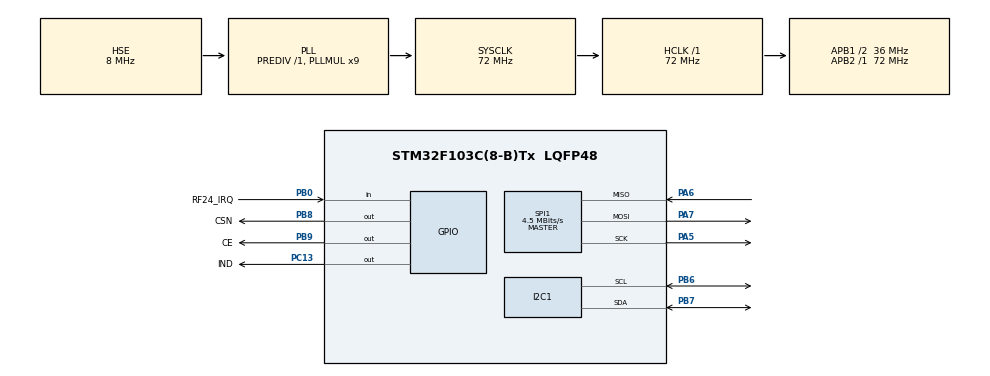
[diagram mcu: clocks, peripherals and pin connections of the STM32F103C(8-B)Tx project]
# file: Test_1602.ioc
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Dma.I2C1_RX.0.Direction=DMA_PERIPH_TO_MEMORY
Dma.I2C1_RX.0.Instance=DMA1_Channel7
Dma.I2C1_RX.0.MemDataAlignment=DMA_MDATAALIGN_BYTE
Dma.I2C1_RX.0.MemInc=DMA_MINC_ENABLE
Dma.I2C1_RX.0.Mode=DMA_NORMAL
Dma.I2C1_RX.0.PeriphDataAlignment=DMA_PDATAALIGN_BYTE
Dma.I2C1_RX.0.PeriphInc=DMA_PINC_DISABLE
Dma.I2C1_RX.0.Priority=DMA_PRIORITY_LOW
Dma.I2C1_TX.1.Direction=DMA_MEMORY_TO_PERIPH
Dma.I2C1_TX.1.Instance=DMA1_Channel6
Dma.I2C1_TX.1.MemDataAlignment=DMA_MDATAALIGN_BYTE
Dma.I2C1_TX.1.MemInc=DMA_MINC_ENABLE
Dma.I2C1_TX.1.Mode=DMA_NORMAL
Dma.I2C1_TX.1.PeriphDataAlignment=DMA_PDATAALIGN_BYTE
Dma.I2C1_TX.1.PeriphInc=DMA_PINC_DISABLE
Dma.I2C1_TX.1.Priority=DMA_PRIORITY_LOW
Dma.Request0=I2C1_RX
Dma.Request1=I2C1_TX
FREERTOS.INCLUDE_vTaskDelayUntil=1
FREERTOS.Queues01=sensorTemp,2,double,0,Dynamic,NULL,NULL;msgClockTick,2,uint32_t,0,Dynamic,NULL,NULL;msgRadioTransmit,8,uint16_t,0,Dynamic,NULL,NULL
FREERTOS.Tasks01=defaultTask,-2,64,StartDefaultTask,Default,NULL,Dynamic,NULL,NULL;lcd1602,-1,128,StartLcd1602,Default,NULL,Dynamic,NULL,NULL;bmp180Sensor,-3,128,StartBmp180Sensor,Default,NULL,Dynamic,NULL,NULL;myRadio,0,128,StartRadio,Default,NULL,Dynamic,NULL,NULL
FREERTOS.Timers01=realTimeClock,CallbackTimerClock,osTimerPeriodic,Default,NULL,Dynamic,NULL
FREERTOS.configCHECK_FOR_STACK_OVERFLOW=1
FREERTOS.configMINIMAL_STACK_SIZE=64
FREERTOS.configTIMER_TASK_STACK_DEPTH=64
FREERTOS.configUSE_TIMERS=1
Mcu.Family=STM32F1
Mcu.Name=STM32F103C(8-B)Tx
Mcu.Package=LQFP48
NVIC.DMA1_Channel6_IRQn=true\:5\:0\:false\:false\:true\:true\:false\:true
NVIC.DMA1_Channel7_IRQn=true\:5\:0\:false\:false\:true\:true\:false\:true
NVIC.I2C1_ER_IRQn=true\:5\:0\:false\:false\:true\:true\:true\:true
NVIC.I2C1_EV_IRQn=true\:5\:0\:false\:false\:true\:true\:true\:true
NVIC.PriorityGroup=NVIC_PRIORITYGROUP_4
NVIC.TIM4_IRQn=true\:0\:0\:false\:false\:true\:false\:false\:true
NVIC.TimeBase=TIM4_IRQn
NVIC.TimeBaseIP=TIM4
PA13.Mode=Trace_Asynchronous_SW
PA13.Signal=SYS_JTMS-SWDIO
PA14.Mode=Trace_Asynchronous_SW
PA14.Signal=SYS_JTCK-SWCLK
PA5.Mode=Full_Duplex_Master
PA5.Signal=SPI1_SCK
PA6.Mode=Full_Duplex_Master
PA6.Signal=SPI1_MISO
PA7.Mode=Full_Duplex_Master
PA7.Signal=SPI1_MOSI
PB0.GPIO_Label=RF24_IRQ
PB0.Signal=GPIO_Input
PB3.Mode=Trace_Asynchronous_SW
PB3.Signal=SYS_JTDO-TRACESWO
PB6.Mode=I2C
PB6.Signal=I2C1_SCL
PB7.Mode=I2C
PB7.Signal=I2C1_SDA
PB8.GPIO_Label=CSN
PB8.PinState=GPIO_PIN_SET
PB8.Signal=GPIO_Output
PB9.GPIO_Label=CE
PB9.Signal=GPIO_Output
PC13-TAMPER-RTC.GPIO_Label=IND
PC13-TAMPER-RTC.Signal=GPIO_Output
PD0-OSC_IN.Mode=HSE-External-Oscillator
PD0-OSC_IN.Signal=RCC_OSC_IN
PD1-OSC_OUT.Mode=HSE-External-Oscillator
PD1-OSC_OUT.Signal=RCC_OSC_OUT
ProjectManager.HeapSize=0x200
ProjectManager.StackSize=0x400
ProjectManager.TargetToolchain=STM32CubeIDE
RCC.AHBFreq_Value=72000000
RCC.APB1CLKDivider=RCC_HCLK_DIV2
RCC.APB1Freq_Value=36000000
RCC.APB1TimFreq_Value=72000000
RCC.APB2Freq_Value=72000000
RCC.APB2TimFreq_Value=72000000
RCC.HCLKFreq_Value=72000000
RCC.PLLMUL=RCC_PLL_MUL9
RCC.PLLSourceVirtual=RCC_PLLSOURCE_HSE
RCC.SYSCLKFreq_VALUE=72000000
RCC.SYSCLKSource=RCC_SYSCLKSOURCE_PLLCLK
RCC.USBFreq_Value=48000000
RCC.USBPrescaler=RCC_USBCLKSOURCE_PLL_DIV1_5
SPI1.BaudRatePrescaler=SPI_BAUDRATEPRESCALER_16
SPI1.CalculateBaudRate=4.5 MBits/s
SPI1.Direction=SPI_DIRECTION_2LINES
SPI1.Mode=SPI_MODE_MASTER
SPI1.VirtualType=VM_MASTER
VP_FREERTOS_VS_CMSIS_V1.Mode=CMSIS_V1
VP_SYS_VS_tim4.Mode=TIM4
board=custom

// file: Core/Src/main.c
/* USER CODE BEGIN Header */
/**
  ******************************************************************************
  * @file           : main.c
  * @brief          : Main program body
  ******************************************************************************
  * @attention
  *
  * <h2><center>&copy; Copyright (c) 2019 STMicroelectronics.
  * All rights reserved.</center></h2>
  *
  * This software component is licensed by ST under BSD 3-Clause license,
  * the "License"; You may not use this file except in compliance with the
  * License. You may obtain a copy of the License at:
  *                        opensource.org/licenses/BSD-3-Clause
  *
  ******************************************************************************
  */
/* USER CODE END Header */

#include "main.h"
#include "cmsis_os.h"

/* USER CODE BEGIN Includes */
#include "lcd_hd44780_i2c.h"
#include "bmp180.h"
#include <stdio.h>
#include <string.h>
#include <math.h>
#include "meteo_home.h"
#include "RF24.h"
#include "transmitter.h"
/* USER CODE END Includes */

/* USER CODE BEGIN PTD */
const uint64_t pipe_addresses[6] = {
	0xF0F0F0F0D2LL,
	0xF0F0F0F0E1LL,
	0xF0F0F0F0E2LL,
	0xF0F0F0F0E3LL,
	0xF0F0F0F0E4LL,
	0xF0F0F0F0E5LL
};
/* USER CODE END PTD */

I2C_HandleTypeDef hi2c1;
DMA_HandleTypeDef hdma_i2c1_rx;
DMA_HandleTypeDef hdma_i2c1_tx;

SPI_HandleTypeDef hspi1;

osThreadId defaultTaskHandle;
osThreadId lcd1602Handle;
osThreadId bmp180SensorHandle;
osThreadId myRadioHandle;
osMessageQId sensorTempHandle;
osMessageQId msgClockTickHandle;
osMessageQId msgRadioTransmitHandle;
osTimerId realTimeClockHandle;
/* USER CODE BEGIN PV */

osPoolDef(bmp_pool, 16, BMP180_DATA);                    // Define memory pool
osPoolId  bmp_pool;
osMessageQDef(bmp180MailTempHandler, 16, BMP180_DATA);              // Define message queue
osMessageQId bmp180MailTempHandler;
osMessageQId  MsgBox;
/* USER CODE END PV */

void SystemClock_Config(void);
static void MX_GPIO_Init(void);
static void MX_DMA_Init(void);
static void MX_I2C1_Init(void);
static void MX_SPI1_Init(void);
void StartDefaultTask(void const * argument);
void StartLcd1602(void const * argument);
void StartBmp180Sensor(void const * argument);
void StartRadio(void const * argument);
void CallbackTimerClock(void const * argument);

int main(void)
{

  /* MCU Configuration--------------------------------------------------------*/

  /* Reset of all peripherals, Initializes the Flash interface and the Systick. */
  HAL_Init();

  /* Configure the system clock */
  SystemClock_Config();

  /* Initialize all configured peripherals */
  MX_GPIO_Init();
  MX_DMA_Init();
  MX_I2C1_Init();
  MX_SPI1_Init();

  /* Create the timer(s) */
  /* definition and creation of realTimeClock */
  osTimerDef(realTimeClock, CallbackTimerClock);
  realTimeClockHandle = osTimerCreate(osTimer(realTimeClock), osTimerPeriodic, NULL);

  /* Create the queue(s) */
  /* definition and creation of sensorTemp */
  osMessageQDef(sensorTemp, 2, double);
  sensorTempHandle = osMessageCreate(osMessageQ(sensorTemp), NULL);

  /* definition and creation of msgClockTick */
  osMessageQDef(msgClockTick, 2, uint32_t);
  msgClockTickHandle = osMessageCreate(osMessageQ(msgClockTick), NULL);

  /* definition and creation of msgRadioTransmit */
  osMessageQDef(msgRadioTransmit, 8, uint16_t);
  msgRadioTransmitHandle = osMessageCreate(osMessageQ(msgRadioTransmit), NULL);

  /* USER CODE BEGIN RTOS_QUEUES */
  /* add queues, ... */
  bmp_pool = osPoolCreate(osPool(bmp_pool));                 // create memory pool
  bmp180MailTempHandler = osMessageCreate(osMessageQ(bmp180MailTempHandler), NULL);  // create msg queue

  /* USER CODE END RTOS_QUEUES */

  /* Create the thread(s) */
  /* definition and creation of defaultTask */
  osThreadDef(defaultTask, StartDefaultTask, osPriorityLow, 0, 64);
  defaultTaskHandle = osThreadCreate(osThread(defaultTask), NULL);

  /* definition and creation of lcd1602 */
  osThreadDef(lcd1602, StartLcd1602, osPriorityBelowNormal, 0, 128);
  lcd1602Handle = osThreadCreate(osThread(lcd1602), NULL);

  /* definition and creation of bmp180Sensor */
  osThreadDef(bmp180Sensor, StartBmp180Sensor, osPriorityIdle, 0, 128);
  bmp180SensorHandle = osThreadCreate(osThread(bmp180Sensor), NULL);

  /* definition and creation of myRadio */
  osThreadDef(myRadio, StartRadio, osPriorityNormal, 0, 128);
  myRadioHandle = osThreadCreate(osThread(myRadio), NULL);

  /* Start scheduler */
  osKernelStart();

  /* We should never get here as control is now taken by the scheduler */
  /* Infinite loop */
  while (1)
  {

  }
}

void SystemClock_Config(void)
{
  RCC_OscInitTypeDef RCC_OscInitStruct = {0};
  RCC_ClkInitTypeDef RCC_ClkInitStruct = {0};

  /** Initializes the CPU, AHB and APB busses clocks
  */
  RCC_OscInitStruct.OscillatorType = RCC_OSCILLATORTYPE_HSE;
  RCC_OscInitStruct.HSEState = RCC_HSE_ON;
  RCC_OscInitStruct.HSEPredivValue = RCC_HSE_PREDIV_DIV1;
  RCC_OscInitStruct.HSIState = RCC_HSI_ON;
  RCC_OscInitStruct.PLL.PLLState = RCC_PLL_ON;
  RCC_OscInitStruct.PLL.PLLSource = RCC_PLLSOURCE_HSE;
  RCC_OscInitStruct.PLL.PLLMUL = RCC_PLL_MUL9;
  if (HAL_RCC_OscConfig(&RCC_OscInitStruct) != HAL_OK)
  {
    Error_Handler();
  }
  /** Initializes the CPU, AHB and APB busses clocks
  */
  RCC_ClkInitStruct.ClockType = RCC_CLOCKTYPE_HCLK|RCC_CLOCKTYPE_SYSCLK
                              |RCC_CLOCKTYPE_PCLK1|RCC_CLOCKTYPE_PCLK2;
  RCC_ClkInitStruct.SYSCLKSource = RCC_SYSCLKSOURCE_PLLCLK;
  RCC_ClkInitStruct.AHBCLKDivider = RCC_SYSCLK_DIV1;
  RCC_ClkInitStruct.APB1CLKDivider = RCC_HCLK_DIV2;
  RCC_ClkInitStruct.APB2CLKDivider = RCC_HCLK_DIV1;

  if (HAL_RCC_ClockConfig(&RCC_ClkInitStruct, FLASH_LATENCY_2) != HAL_OK)
  {
    Error_Handler();
  }
}

static void MX_I2C1_Init(void)
{

  hi2c1.Instance = I2C1;
  hi2c1.Init.ClockSpeed = 100000;
  hi2c1.Init.DutyCycle = I2C_DUTYCYCLE_2;
  hi2c1.Init.OwnAddress1 = 0;
  hi2c1.Init.AddressingMode = I2C_ADDRESSINGMODE_7BIT;
  hi2c1.Init.DualAddressMode = I2C_DUALADDRESS_DISABLE;
  hi2c1.Init.OwnAddress2 = 0;
  hi2c1.Init.GeneralCallMode = I2C_GENERALCALL_DISABLE;
  hi2c1.Init.NoStretchMode = I2C_NOSTRETCH_DISABLE;
  if (HAL_I2C_Init(&hi2c1) != HAL_OK)
  {
    Error_Handler();
  }

}

static void MX_SPI1_Init(void)
{

  /* SPI1 parameter configuration*/
  hspi1.Instance = SPI1;
  hspi1.Init.Mode = SPI_MODE_MASTER;
  hspi1.Init.Direction = SPI_DIRECTION_2LINES;
  hspi1.Init.DataSize = SPI_DATASIZE_8BIT;
  hspi1.Init.CLKPolarity = SPI_POLARITY_LOW;
  hspi1.Init.CLKPhase = SPI_PHASE_1EDGE;
  hspi1.Init.NSS = SPI_NSS_SOFT;
  hspi1.Init.BaudRatePrescaler = SPI_BAUDRATEPRESCALER_16;
  hspi1.Init.FirstBit = SPI_FIRSTBIT_MSB;
  hspi1.Init.TIMode = SPI_TIMODE_DISABLE;
  hspi1.Init.CRCCalculation = SPI_CRCCALCULATION_DISABLE;
  hspi1.Init.CRCPolynomial = 10;
  if (HAL_SPI_Init(&hspi1) != HAL_OK)
  {
    Error_Handler();
  }

}

static void MX_DMA_Init(void)
{

  /* DMA controller clock enable */
  __HAL_RCC_DMA1_CLK_ENABLE();

  /* DMA interrupt init */
  /* DMA1_Channel6_IRQn interrupt configuration */
  HAL_NVIC_SetPriority(DMA1_Channel6_IRQn, 5, 0);
  HAL_NVIC_EnableIRQ(DMA1_Channel6_IRQn);
  /* DMA1_Channel7_IRQn interrupt configuration */
  HAL_NVIC_SetPriority(DMA1_Channel7_IRQn, 5, 0);
  HAL_NVIC_EnableIRQ(DMA1_Channel7_IRQn);

}

static void MX_GPIO_Init(void)
{
  GPIO_InitTypeDef GPIO_InitStruct = {0};

  /* GPIO Ports Clock Enable */
  __HAL_RCC_GPIOC_CLK_ENABLE();
  __HAL_RCC_GPIOD_CLK_ENABLE();
  __HAL_RCC_GPIOA_CLK_ENABLE();
  __HAL_RCC_GPIOB_CLK_ENABLE();

  /*Configure GPIO pin Output Level */
  HAL_GPIO_WritePin(IND_GPIO_Port, IND_Pin, GPIO_PIN_RESET);

  /*Configure GPIO pin Output Level */
  HAL_GPIO_WritePin(CSN_GPIO_Port, CSN_Pin, GPIO_PIN_SET);

  /*Configure GPIO pin Output Level */
  HAL_GPIO_WritePin(CE_GPIO_Port, CE_Pin, GPIO_PIN_RESET);

  /*Configure GPIO pin : IND_Pin */
  GPIO_InitStruct.Pin = IND_Pin;
  GPIO_InitStruct.Mode = GPIO_MODE_OUTPUT_PP;
  GPIO_InitStruct.Pull = GPIO_NOPULL;
  GPIO_InitStruct.Speed = GPIO_SPEED_FREQ_LOW;
  HAL_GPIO_Init(IND_GPIO_Port, &GPIO_InitStruct);

  /*Configure GPIO pin : RF24_IRQ_Pin */
  GPIO_InitStruct.Pin = RF24_IRQ_Pin;
  GPIO_InitStruct.Mode = GPIO_MODE_INPUT;
  GPIO_InitStruct.Pull = GPIO_NOPULL;
  HAL_GPIO_Init(RF24_IRQ_GPIO_Port, &GPIO_InitStruct);

  /*Configure GPIO pins : CSN_Pin CE_Pin */
  GPIO_InitStruct.Pin = CSN_Pin|CE_Pin;
  GPIO_InitStruct.Mode = GPIO_MODE_OUTPUT_PP;
  GPIO_InitStruct.Pull = GPIO_NOPULL;
  GPIO_InitStruct.Speed = GPIO_SPEED_FREQ_LOW;
  HAL_GPIO_Init(GPIOB, &GPIO_InitStruct);

}

/* USER CODE BEGIN 4 */
uint8_t I2C_Scan(I2C_HandleTypeDef *hi2c)
{
    //char info[] = "Scanning I2C bus...\n";
    //HAL_UART_Transmit(&huart1, (uint8_t*)info, strlen(info), 1000);
	static uint8_t k=0;
    for(uint16_t i = 0; i < 128; i++)
    {
        if(HAL_I2C_IsDeviceReady(hi2c, i << 1, 1, 100) == HAL_OK)
        {
        	k = i;
        	//char msg[64] = {0,};
            //snprintf(msg, 64, "Device: 0x%02X\n", i);
            //HAL_UART_Transmit(&huart1, (uint8_t*)msg, strlen(msg), 1000);
        }
    }
    return k;
}
void I2C_Error(char *er, uint32_t status) // ошибки i2c
{}
/* USER CODE END 4 */

void StartDefaultTask(void const * argument)
{
  /* USER CODE BEGIN 5 */
  /* Infinite loop */
	static osEvent event;
	transmit_query q;
	uint16_t iq;
	osTimerStart(realTimeClockHandle, 1000);
  /* Infinite loop */
  for(;;)
  {
	 event = osMessageGet(msgClockTickHandle, osWaitForever);
	 if(event.status == osEventMessage)
	 {
		 unixtime++;
		 if ((transmit_state ==start_state) ||
				 (transmit_state=connecting_state)||
				 (transmit_state==lost_connectState)||
				 (transmit_state==test_state))
		 {
			 q.type = data_null;
			 q.query = none_q;
			 iq = (q.type<< 8) +q.query;;
			 osStatus st =osMessagePut(msgRadioTransmitHandle, iq, 100);
			 st = 0;
		 }
		 HAL_GPIO_TogglePin(IND_GPIO_Port, IND_Pin);
		 if (unixtime % 60 ==0)
		 {
			if ((transmit_state ==connected_state) ||(transmit_state=disconnected_state))
			{

			}
				//unixtimeToString(unixtime,(char*)&strT);
		 }
	 }
  }
  /* USER CODE END 5 */
}

void StartLcd1602(void const * argument)
{
  /* USER CODE BEGIN StartLcd1602 */
	static char buffer[21];
	static osEvent event;
	lcdInit(&hi2c1, (uint8_t)0x27, (uint8_t)2, (uint8_t)16);
	static const char helloWorld[] = "Meteostation #1";
	lcdSetCursorPosition(0, 0);
	lcdPrintStr((uint8_t*)helloWorld, strlen(helloWorld));
	lcdDisplayClear();
	  /* Infinite loop */
	  for(;;)
	  {
  	      BMP180_DATA *qstruct;

  	      event = osMessageGet(bmp180MailTempHandler, osWaitForever);
  	      if (event.status == osEventMessage)
  	      {
			  qstruct = event.value.p;

			  double fractpart, intpart;
			  fractpart = modf(qstruct->temp, &intpart);
			  uint8_t pos = (uint8_t)qstruct->from;
			  sprintf(buffer,"T=%li.%li", lroundf(intpart), lroundf(fractpart * 10));
			  lcdSetCursorPosition(0, pos);
			  lcdPrintStr((uint8_t*)buffer, strlen(buffer));
			  sprintf(buffer,"P=%li", qstruct->press);
			  lcdSetCursorPosition(10, pos);
			  lcdPrintStr((uint8_t*)buffer, strlen(buffer));
			  sprintf(buffer,"T=%li.%li  P=%li\r\n", lroundf(intpart), lroundf(fractpart * 10),qstruct->press);
			  osPoolFree(bmp_pool,qstruct);
		}
	  }
  /* USER CODE END StartLcd1602 */
}

void StartBmp180Sensor(void const * argument)
{
  /* USER CODE BEGIN StartBmp180Sensor */
  /* Infinite loop */
	BMP180_DATA *qstruct;
	// I2C_Scan(&hi2c1); // НОМЕР I2C
	BMP_i2c_init(&hi2c1); // НОМЕР I2C
  for(;;)
  {

	  char trans_str[64] = {0,};
	  qstruct = osPoolAlloc(bmp_pool);
	  BMP_setControl(BMP_MODE_TEMPERATURE);
	  HAL_Delay(BMP_getMeasureDelayMilliseconds(BMP_MODE_TEMPERATURE));
	  float t = BMP_getTemperatureC();

	  BMP_setControl(BMP_MODE_PRESSURE_3);
	  HAL_Delay(BMP_getMeasureDelayMilliseconds(BMP_MODE_PRESSURE_3));
	  float p = BMP_getPressure() * 0.00750062;

	  //snprintf(trans_str, 64, "Temp: %.1f  Pressure: %.2f\n", t , p);
	  //HAL_UART_Transmit(&huart1, (uint8_t*)trans_str, strlen(trans_str), 1000);

	  qstruct->temp = t;
	  qstruct->press = p;
	  qstruct->from = meteoIndoor;
	  osMessagePut(bmp180MailTempHandler,(uint32_t)qstruct, 100);
	  vTaskDelay(2000);
  }
  /* USER CODE END StartBmp180Sensor */
}

void StartRadio(void const * argument)
{
  /* USER CODE BEGIN StartRadio */

	uint8_t res = isChipConnected(); // проверяет подключён ли модуль к SPI

	res = NRF_Init(); // инициализация
	////////////// SET ////////////////

	setPALevel(RF24_PA_LOW);
	//uint8_t status = getPALevel();
	//setAutoAck(false);
	setPayloadSize(sizeof(struct meteo_data_struct));
	enableDynamicPayloads();
	enableAckPayload();
	setChannel(106);
	openWritingPipe(pipe_addresses[2]);

	static osEvent event;
	transmit_query q;
	uint16_t iq;
  /* Infinite loop */
	for(;;)
	{
	      event = osMessageGet(msgRadioTransmitHandle, osWaitForever);
	      if (event.status == osEventMessage)
	      {
			  iq = event.value.v;
			  q.query = iq *0xFF;
			  q.type = iq >> 8;
	      }
	}
  /* USER CODE END StartRadio */
}

/* CallbackTimerClock function */
void CallbackTimerClock(void const * argument)
{
  /* USER CODE BEGIN CallbackTimerClock */
	  static uint32_t tim = 0;
	  tim++;

	  osMessagePut(msgClockTickHandle, tim, 0);
  /* USER CODE END CallbackTimerClock */
}

 /**
  * @brief  Period elapsed callback in non blocking mode
  * @note   This function is called  when TIM4 interrupt took place, inside
  * HAL_TIM_IRQHandler(). It makes a direct call to HAL_IncTick() to increment
  * a global variable "uwTick" used as application time base.
  * @param  htim : TIM handle
  * @retval None
  */
void HAL_TIM_PeriodElapsedCallback(TIM_HandleTypeDef *htim)
{
  if (htim->Instance == TIM4) {
    HAL_IncTick();
  }
}

void Error_Handler(void)
{
}

/************************ (C) COPYRIGHT STMicroelectronics *****END OF FILE****/

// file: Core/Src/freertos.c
/* USER CODE BEGIN Header */
/**
  ******************************************************************************
  * File Name          : freertos.c
  * Description        : Code for freertos applications
  ******************************************************************************
  * @attention
  *
  * <h2><center>&copy; Copyright (c) 2019 STMicroelectronics.
  * All rights reserved.</center></h2>
  *
  * This software component is licensed by ST under Ultimate Liberty license
  * SLA0044, the "License"; You may not use this file except in compliance with
  * the License. You may obtain a copy of the License at:
  *                             www.st.com/SLA0044
  *
  ******************************************************************************
  */
/* USER CODE END Header */

#include "FreeRTOS.h"
#include "task.h"
#include "main.h"

/* GetIdleTaskMemory prototype (linked to static allocation support) */
void vApplicationGetIdleTaskMemory( StaticTask_t **ppxIdleTaskTCBBuffer, StackType_t **ppxIdleTaskStackBuffer, uint32_t *pulIdleTaskStackSize );

/* GetTimerTaskMemory prototype (linked to static allocation support) */
void vApplicationGetTimerTaskMemory( StaticTask_t **ppxTimerTaskTCBBuffer, StackType_t **ppxTimerTaskStackBuffer, uint32_t *pulTimerTaskStackSize );

/* Hook prototypes */
void vApplicationStackOverflowHook(xTaskHandle xTask, signed char *pcTaskName);

/* USER CODE BEGIN 4 */
__weak void vApplicationStackOverflowHook(xTaskHandle xTask, signed char *pcTaskName)
{
   /* Run time stack overflow checking is performed if
   configCHECK_FOR_STACK_OVERFLOW is defined to 1 or 2. This hook function is
   called if a stack overflow is detected. */
}
/* USER CODE END 4 */

/* USER CODE BEGIN GET_IDLE_TASK_MEMORY */
static StaticTask_t xIdleTaskTCBBuffer;
static StackType_t xIdleStack[configMINIMAL_STACK_SIZE];

void vApplicationGetIdleTaskMemory( StaticTask_t **ppxIdleTaskTCBBuffer, StackType_t **ppxIdleTaskStackBuffer, uint32_t *pulIdleTaskStackSize )
{
  *ppxIdleTaskTCBBuffer = &xIdleTaskTCBBuffer;
  *ppxIdleTaskStackBuffer = &xIdleStack[0];
  *pulIdleTaskStackSize = configMINIMAL_STACK_SIZE;
  /* place for user code */
}
/* USER CODE END GET_IDLE_TASK_MEMORY */

/* USER CODE BEGIN GET_TIMER_TASK_MEMORY */
static StaticTask_t xTimerTaskTCBBuffer;
static StackType_t xTimerStack[configTIMER_TASK_STACK_DEPTH];

void vApplicationGetTimerTaskMemory( StaticTask_t **ppxTimerTaskTCBBuffer, StackType_t **ppxTimerTaskStackBuffer, uint32_t *pulTimerTaskStackSize )
{
  *ppxTimerTaskTCBBuffer = &xTimerTaskTCBBuffer;
  *ppxTimerTaskStackBuffer = &xTimerStack[0];
  *pulTimerTaskStackSize = configTIMER_TASK_STACK_DEPTH;
  /* place for user code */
}
/* USER CODE END GET_TIMER_TASK_MEMORY */

/************************ (C) COPYRIGHT STMicroelectronics *****END OF FILE****/
